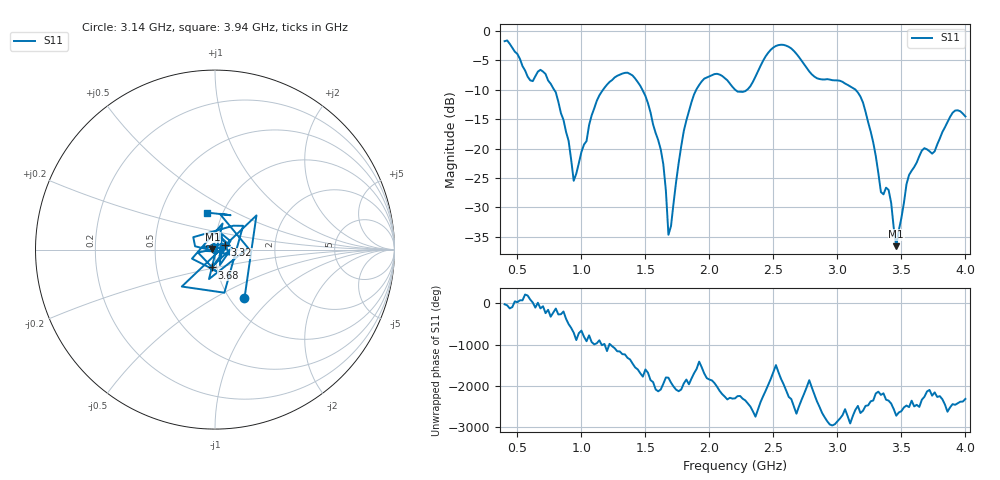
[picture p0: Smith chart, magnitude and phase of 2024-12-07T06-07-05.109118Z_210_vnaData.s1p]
!Created with skrf (http://scikit-rf.org).
# Hz S RI R 50.0
!freq ReS11 ImS11
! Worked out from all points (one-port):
!   181 points, 400 MHz to 4 GHz, reference 50 ohm
!   lowest |S11| = -36.6 dB at 3.46 GHz (marker M1), VSWR 1.03, Z = 48.6 + j0.406 ohm
!   |S11| at or under -10 dB: 786.8 MHz to 1.17 GHz (382.8 MHz wide, 39.1 % of centre); 1.476 GHz to 1.898 GHz (421.7 MHz wide, 25 % of centre); 3.141 GHz to end of sweep (the widest 3 of 4)
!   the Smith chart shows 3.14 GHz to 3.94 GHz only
!   S11 on the Smith chart (normalised r, x): 3.14 GHz: 1.16, -0.70; 3.32 GHz: 1.12, +0.06; 3.68 GHz: 0.95, -0.19; 3.94 GHz: 0.84, +0.36
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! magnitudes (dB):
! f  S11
! 400 MHz  -1.8
! 600 MHz  -8.4
! 720 MHz  -7.3
! 860 MHz  -15.1
! 940 MHz  -25.5
! 1.12 GHz  -11.9
! 1.3 GHz  -7.5
! 1.52 GHz  -12.3
! 1.64 GHz  -22.7
! 1.68 GHz  -34.7
! 1.76 GHz  -22.4
! 1.86 GHz  -12.1
! 1.94 GHz  -8.6
! 2.2 GHz  -10.0
! 2.5 GHz  -2.8
! 2.66 GHz  -3.4
! 3.1 GHz  -9.4
! 3.14 GHz  -10.0
! 3.22 GHz  -13.8
! 3.32 GHz  -24.2
! 3.34 GHz  -27.4
! 3.4 GHz  -27.0
! 3.46 GHz  -36.6
! 3.56 GHz  -24.5
! 3.68 GHz  -19.9
! 3.76 GHz  -20.5
! 3.94 GHz  -13.5
! 4 GHz  -14.5
